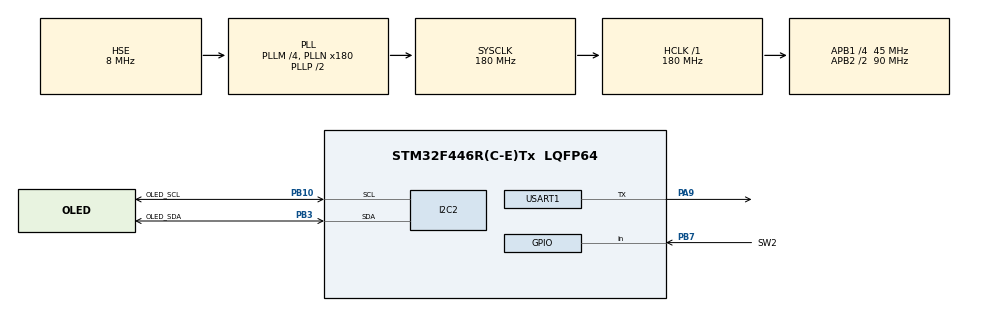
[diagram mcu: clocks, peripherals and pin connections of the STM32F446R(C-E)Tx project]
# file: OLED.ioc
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Dma.Request0=USART1_TX
Dma.USART1_TX.0.Direction=DMA_MEMORY_TO_PERIPH
Dma.USART1_TX.0.FIFOMode=DMA_FIFOMODE_DISABLE
Dma.USART1_TX.0.Instance=DMA2_Stream7
Dma.USART1_TX.0.MemDataAlignment=DMA_MDATAALIGN_BYTE
Dma.USART1_TX.0.MemInc=DMA_MINC_ENABLE
Dma.USART1_TX.0.Mode=DMA_NORMAL
Dma.USART1_TX.0.PeriphDataAlignment=DMA_PDATAALIGN_BYTE
Dma.USART1_TX.0.PeriphInc=DMA_PINC_DISABLE
Dma.USART1_TX.0.Priority=DMA_PRIORITY_LOW
I2C2.I2C_Mode=I2C_Fast
Mcu.Family=STM32F4
Mcu.Name=STM32F446R(C-E)Tx
Mcu.Package=LQFP64
NVIC.DMA2_Stream7_IRQn=true\:0\:0\:false\:false\:true\:true\:true\:true
NVIC.PriorityGroup=NVIC_PRIORITYGROUP_4
NVIC.USART1_IRQn=true\:0\:0\:false\:false\:true\:true\:true\:true
PA13.Mode=Serial_Wire
PA13.Signal=SYS_JTMS-SWDIO
PA14.Mode=Serial_Wire
PA14.Signal=SYS_JTCK-SWCLK
PA9.GPIO_ModeDefaultOD=GPIO_MODE_AF_OD
PA9.Mode=Half_duplex(single_wire_mode)
PA9.Signal=USART1_TX
PB10.GPIO_Label=OLED_SCL
PB10.Mode=I2C
PB10.Signal=I2C2_SCL
PB3.GPIO_Label=OLED_SDA
PB3.Mode=I2C
PB3.Signal=I2C2_SDA
PB7.GPIO_Label=SW2
PB7.Signal=GPIO_Input
PH0-OSC_IN.Mode=HSE-External-Clock-Source
PH0-OSC_IN.Signal=RCC_OSC_IN
PH1-OSC_OUT.Mode=HSE-External-Clock-Source
PH1-OSC_OUT.Signal=RCC_OSC_OUT
ProjectManager.HeapSize=0x200
ProjectManager.StackSize=0x400
ProjectManager.TargetToolchain=Makefile
RCC.AHBFreq_Value=180000000
RCC.APB1CLKDivider=RCC_HCLK_DIV4
RCC.APB1Freq_Value=45000000
RCC.APB1TimFreq_Value=90000000
RCC.APB2CLKDivider=RCC_HCLK_DIV2
RCC.APB2Freq_Value=90000000
RCC.APB2TimFreq_Value=180000000
RCC.CortexFreq_Value=180000000
RCC.HCLKFreq_Value=180000000
RCC.HSE_VALUE=8000000
RCC.PLLM=4
RCC.PLLN=180
RCC.PLLSourceVirtual=RCC_PLLSOURCE_HSE
RCC.RCC_RTC_Clock_SourceVirtual=RCC_RTCCLKSOURCE_HSE_DIV25
RCC.RCC_RTC_Clock_Source_FROM_HSE=RCC_RTCCLKSOURCE_HSE_DIV25
RCC.SYSCLKFreq_VALUE=180000000
RCC.SYSCLKSource=RCC_SYSCLKSOURCE_PLLCLK
RCC.USBFreq_Value=180000000
RCC.VCOOutputFreq_Value=360000000
RTC.SynchPrediv=2499
USART1.Mode=MODE_TX
USART1.VirtualMode=VM_ASYNC
VP_RTC_VS_RTC_Activate.Mode=RTC_Enabled
board=custom

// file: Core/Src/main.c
/* USER CODE BEGIN Header */
/**
 ******************************************************************************
 * @file           : main.c
 * @brief          : Main program body
 ******************************************************************************
 * @attention
 *
 * Copyright (c) 2024 STMicroelectronics.
 * All rights reserved.
 *
 * This software is licensed under terms that can be found in the LICENSE file
 * in the root directory of this software component.
 * If no LICENSE file comes with this software, it is provided AS-IS.
 *
 ******************************************************************************
 */
/* USER CODE END Header */
#include "main.h"
#include "dma.h"
#include "gpio.h"
#include "i2c.h"
#include "rtc.h"
#include "usart.h"

/* USER CODE BEGIN Includes */

#include "fonts.h"
#include "ssd1306.h"
#include <stdio.h>

/* USER CODE END Includes */

void SystemClock_Config(void);

int main(void) {

  /* MCU Configuration--------------------------------------------------------*/

  /* Reset of all peripherals, Initializes the Flash interface and the Systick.
   */
  HAL_Init();

  /* Configure the system clock */
  SystemClock_Config();

  /* Initialize all configured peripherals */
  MX_GPIO_Init();
  MX_DMA_Init();
  MX_I2C2_Init();
  MX_RTC_Init();
  MX_USART1_UART_Init();
  /* USER CODE BEGIN 2 */

  // Init lcd using one of the stm32HAL i2c typedefs
  if (ssd1306_Init(&hi2c2) != 0) {
    Error_Handler();
  }

  /*
  RTC_TimeTypeDef time;
  char timeString[12];
  uint8_t seconds = 0;
  */

  ssd1306_SetCursor(23, 4);
  ssd1306_WriteString("Happy", Font_16x26, White);
  ssd1306_SetCursor(20, 40);
  ssd1306_WriteString("Birthday", Font_11x18, White);

  uint8_t set = 0;

  /* USER CODE END 2 */

  /* Infinite loop */
  /* USER CODE BEGIN WHILE */
  while (1) {
    if (set == 0 &&
        HAL_GPIO_ReadPin(SW2_GPIO_Port, SW2_Pin) == GPIO_PIN_RESET) {
      set = 1;
      ssd1306_UpdateScreen(&hi2c2);
      while (HAL_GPIO_ReadPin(SW2_GPIO_Port, SW2_Pin) == GPIO_PIN_RESET)
        ;
    }

    /*
    HAL_RTC_GetTime(&hrtc, &time, RTC_FORMAT_BIN);
    HAL_RTC_GetDate(&hrtc, NULL, RTC_FORMAT_BIN);

    if (time.Seconds == seconds) {
            continue;
    }

    seconds = time.Seconds;

    sprintf(
            timeString, "%.2hu:%.2hu:%.2hu", time.Hours, time.Minutes,
            time.Seconds); // 将时间格式化为字符串，格式为 HH:MM:SS

    ssd1306_SetCursor(20, 23);
    ssd1306_WriteString(timeString, Font_11x18, White);

    timeString[8] = '\n'; // 补充换行�?
    HAL_UART_Transmit_DMA(
            &huart1, (uint8_t *)timeString,
            9); // 通过串口发�?�时间字符串，长度为9，包括换行符

    ssd1306_UpdateScreen(&hi2c2); // 更新屏幕显示

/* USER CODE END WHILE */

  }
}

void SystemClock_Config(void) {
  RCC_OscInitTypeDef RCC_OscInitStruct = {0};
  RCC_ClkInitTypeDef RCC_ClkInitStruct = {0};

  /** Configure the main internal regulator output voltage
   */
  __HAL_RCC_PWR_CLK_ENABLE();
  __HAL_PWR_VOLTAGESCALING_CONFIG(PWR_REGULATOR_VOLTAGE_SCALE1);

  /** Initializes the RCC Oscillators according to the specified parameters
   * in the RCC_OscInitTypeDef structure.
   */
  RCC_OscInitStruct.OscillatorType = RCC_OSCILLATORTYPE_HSE;
  RCC_OscInitStruct.HSEState = RCC_HSE_BYPASS;
  RCC_OscInitStruct.LSEState = RCC_LSE_OFF;
  RCC_OscInitStruct.PLL.PLLState = RCC_PLL_ON;
  RCC_OscInitStruct.PLL.PLLSource = RCC_PLLSOURCE_HSE;
  RCC_OscInitStruct.PLL.PLLM = 4;
  RCC_OscInitStruct.PLL.PLLN = 180;
  RCC_OscInitStruct.PLL.PLLP = RCC_PLLP_DIV2;
  RCC_OscInitStruct.PLL.PLLQ = 2;
  RCC_OscInitStruct.PLL.PLLR = 2;
  if (HAL_RCC_OscConfig(&RCC_OscInitStruct) != HAL_OK) {
    Error_Handler();
  }

  /** Activate the Over-Drive mode
   */
  if (HAL_PWREx_EnableOverDrive() != HAL_OK) {
    Error_Handler();
  }

  /** Initializes the CPU, AHB and APB buses clocks
   */
  RCC_ClkInitStruct.ClockType = RCC_CLOCKTYPE_HCLK | RCC_CLOCKTYPE_SYSCLK |
                                RCC_CLOCKTYPE_PCLK1 | RCC_CLOCKTYPE_PCLK2;
  RCC_ClkInitStruct.SYSCLKSource = RCC_SYSCLKSOURCE_PLLCLK;
  RCC_ClkInitStruct.AHBCLKDivider = RCC_SYSCLK_DIV1;
  RCC_ClkInitStruct.APB1CLKDivider = RCC_HCLK_DIV4;
  RCC_ClkInitStruct.APB2CLKDivider = RCC_HCLK_DIV2;

  if (HAL_RCC_ClockConfig(&RCC_ClkInitStruct, FLASH_LATENCY_5) != HAL_OK) {
    Error_Handler();
  }
}

void Error_Handler(void) {
  __disable_irq();
  while (1) {
  }
}

#ifdef USE_FULL_ASSERT
/**
 * @brief  Reports the name of the source file and the source line number
 *         where the assert_param error has occurred.
 * @param  file: pointer to the source file name
 * @param  line: assert_param error line source number
 * @retval None
 */
void assert_failed(uint8_t *file, uint32_t line) {
  /* USER CODE BEGIN 6 */
  /* User can add his own implementation to report the file name and line
           number, ex: printf("Wrong parameters value: file %s on line %d\r\n",
     file, line) */
  /* USER CODE END 6 */
}
#endif /* USE_FULL_ASSERT */
